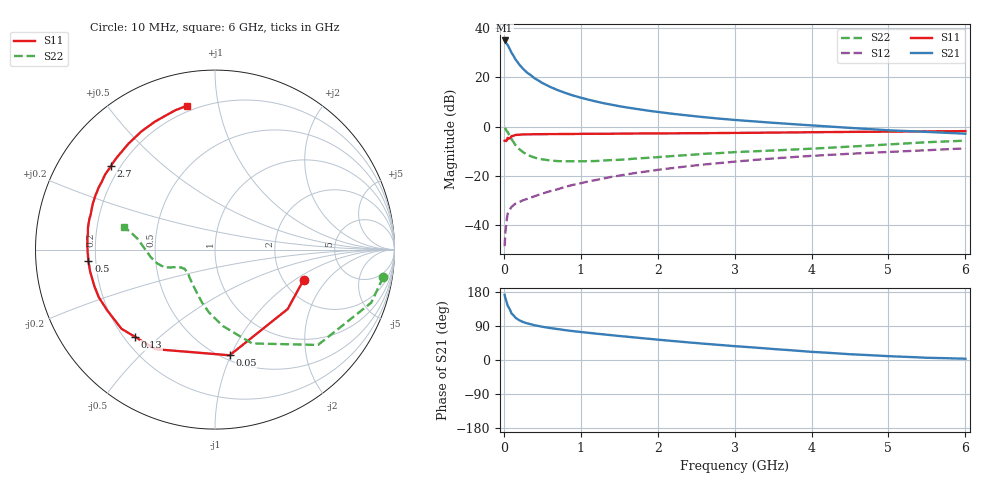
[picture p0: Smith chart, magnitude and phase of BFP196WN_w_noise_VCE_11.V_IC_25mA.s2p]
! Infineon Technologies  Discrete & RF Semiconductors
! BFP196WN
! VCE =  11. V,  IC =  25 mA
! Common Emitter S-Parameters:  Jan 2017
# GHz  S  MA  R  50
!  f  S11  S21  S12  S22
! GHz  MAG  ANG  MAG  ANG  MAG  ANG  MAG  ANG
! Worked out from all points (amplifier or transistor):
!   77 points, 10 MHz to 6 GHz, reference 50 ohm
!   highest |S21| = 35.0 dB at 10 MHz (marker M1)
!   |S21| within 3 dB of that: start of sweep to 69.04 MHz
!   unconditionally stable (mu >= 1): 870.4 MHz to 2.733 GHz
!   at 130 MHz: K = 0.35, MSG = 30.1 dB, |S12| = -31.7 dB
!   at 2.2 GHz: K = 1.03, MAG = 9.9 dB, |S12| = -16.7 dB
!   at 6 GHz: K = 0.88, MSG = 3.0 dB, |S12| = -8.8 dB
!   lowest NFmin = 1.00 dB at 450 MHz
!   S11 on the Smith chart (normalised r, x): 10 MHz: 2.55, -1.18; 50 MHz: 0.54, -0.99; 130 MHz: 0.24, -0.42; 500 MHz: 0.17, -0.04; 2.7 GHz: 0.16, +0.34; 6 GHz: 0.17, +0.81
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0.01  0.5215 -18.9  56.11 172.0  0.0038 73.2  0.9503 -9.3
0.02  0.5231 -39.3  53.09 163.1  0.0071 76.6  0.919 -18.8
0.05  0.5945 -82.1  45.51 142.9  0.0174 58.9  0.782 -42.8
0.1  0.6459 -120.8  31.7 122.6  0.0238 46.7  0.5623 -68.4
0.13  0.6593 -132.5  26.65 116.9  0.0261 43.7  0.4773 -76.8
0.15  0.6827 -139.8  23.48 111.7  0.0276 42.0  0.4282 -84.1
0.2  0.6894 -150.6  18.3 104.9  0.0298 41.8  0.3522 -95.4
0.25  0.6997 -157.6  14.94 100.3  0.0324 42.4  0.3057 -103.3
0.3  0.7022 -162.8  12.6 96.8  0.0344 44.5  0.2714 -110.3
0.4  0.7066 -170.1  9.599 91.5  0.039 49.2  0.2367 -120.2
0.5  0.708 -175.0  7.714 87.7  0.0442 51.7  0.2186 -128.0
0.6  0.7096 -178.8  6.448 84.4  0.0494 54.2  0.2077 -133.9
0.7  0.7113 178.2  5.528 81.6  0.0541 56.8  0.2012 -137.7
0.9  0.714 172.6  4.303 76.2  0.0664 59.9  0.1997 -143.6
1.1  0.7194 168.2  3.535 71.8  0.078 61.7  0.2007 -147.4
1.5  0.7247 160.8  2.612 63.4  0.1022 62.9  0.2137 -152.6
2.1  0.7348 150.6  1.912 51.9  0.1399 62.0  0.2487 -156.8
2.7  0.7437 141.3  1.513 41.5  0.1774 59.2  0.2874 -159.8
3.1  0.7516 135.2  1.338 35.2  0.2025 56.6  0.3106 -163.1
4.1  0.7773 120.5  1.042 20.4  0.2622 49.5  0.3664 -175.0
5.1  0.7978 109.3  0.835 9.3  0.3135 42.3  0.447 171.0
6  0.8166 101.1  0.723 3.4  0.3646 36.2  0.5222 166.0
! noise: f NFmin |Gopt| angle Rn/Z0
0.45  1  0.43  174  0.05
0.9  1.15  0.51  182  0.05
1.9  2.08  0.68  210  0.13
2.4  2.83  0.69  217  0.23
